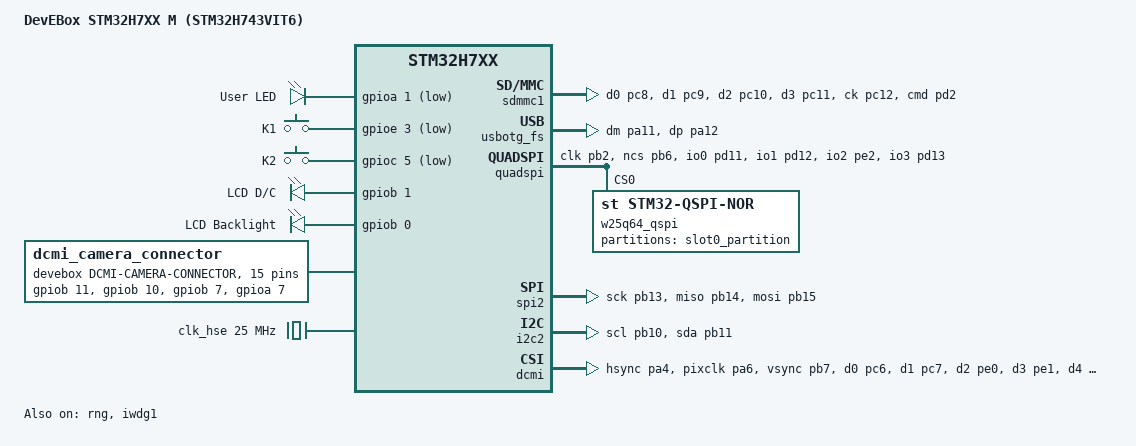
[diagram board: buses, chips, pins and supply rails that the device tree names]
/*
 * Copyright (c) 2026 Vishva
 *
 * SPDX-License-Identifier: Apache-2.0
 */

/dts-v1/;
#include <st/h7/stm32h743Xi.dtsi>
#include <st/h7/stm32h743vitx-pinctrl.dtsi>
#include <zephyr/dt-bindings/input/input-event-codes.h>

/ {
	model = "DevEBox STM32H7XX M (STM32H743VIT6)";
	compatible = "devebox,stm32h7xx-m";

	chosen {
		zephyr,sram = &sram0;
		zephyr,flash = &flash0;
	};

	leds {
		compatible = "gpio-leds";

		user_led: led {
			/* D2, sink-driven: GPIO low = LED on */
			gpios = <&gpioa 1 GPIO_ACTIVE_LOW>;
			label = "User LED";
		};
	};

	gpio_keys {
		compatible = "gpio-keys";

		user_button_k1: button_0 {
			label = "K1";
			gpios = <&gpioe 3 (GPIO_ACTIVE_LOW | GPIO_PULL_UP)>;
			zephyr,code = <INPUT_KEY_0>;
		};

		user_button_k2: button_1 {
			label = "K2";
			gpios = <&gpioc 5 (GPIO_ACTIVE_LOW | GPIO_PULL_UP)>;
			zephyr,code = <INPUT_KEY_1>;
		};
	};

	/*
	 * TFT/LCD header (J4, 8-pin) is a bare SPI2 breakout with no
	 * fixed panel soldered on -- the board supports various plug-in
	 * OLED/TFT modules (0.96"-2.8"). No panel devicetree node is
	 * defined here since the model is unknown; add your own
	 * mipi-dbi/panel node under &spi2 once you know which module is
	 * attached. D/C and backlight are exposed as plain GPIOs below.
	 */
	lcd_ctrl {
		compatible = "gpio-leds"; /* reused as simple GPIO outputs */

		lcd_dc: dc {
			gpios = <&gpiob 1 GPIO_ACTIVE_HIGH>;
			label = "LCD D/C";
		};

		lcd_blk: blk {
			gpios = <&gpiob 0 GPIO_ACTIVE_HIGH>;
			label = "LCD Backlight";
		};
	};

	aliases {
		led0 = &user_led;
		sw0 = &user_button_k1;
		sw1 = &user_button_k2;
		watchdog0 = &iwdg1;
		sdhc0 = &sdmmc1;
	};

	dcmi_camera_connector: connector_dcmi_camera {
		compatible = "devebox,dcmi-camera-connector";
		#gpio-cells = <2>;
		gpio-map-mask = <0xffffffff 0xffffffc0>;
		gpio-map-pass-thru = <0 0x3f>;

		gpio-map = <3 0 &gpiob 11 0>,  /* DCMI_SDA (I2C2_SDA) */
			   <5 0 &gpiob 10 0>,  /* DCMI_SCL (I2C2_SCL) */
			   <7 0 &gpiob 7 0>,   /* DCMI_VSYNC */
			   <8 0 &gpioa 7 0>,   /* DCMI_PWDN */
			   <9 0 &gpioa 4 0>,   /* DCMI_HREF (HSYNC) */
			   <12 0 &gpioe 6 0>,  /* DCMI_D7 */
			   <13 0 &gpioa 8 0>,  /* DCMI_XCLK (RCC_MCO1) */
			   <14 0 &gpioe 5 0>,  /* DCMI_D6 */
			   <16 0 &gpiod 3 0>,  /* DCMI_D5 */
			   <17 0 &gpioa 6 0>,  /* DCMI_PCLK */
			   <18 0 &gpioe 4 0>,  /* DCMI_D4 */
			   <19 0 &gpioc 6 0>,  /* DCMI_D0 */
			   <20 0 &gpioe 1 0>,  /* DCMI_D3 */
			   <21 0 &gpioc 7 0>,  /* DCMI_D1 */
			   <22 0 &gpioe 0 0>;  /* DCMI_D2 */
			   /* DCMI_RESET (PC4) not part of this connector's
			    * fixed pin count above; wire directly via &gpioc
			    * if your camera module needs a reset line. */
	};
};

&clk_lsi {
	status = "okay";
};

&clk_hsi48 {
	status = "okay";
};

&clk_hse {
	clock-frequency = <DT_FREQ_M(25)>;
	status = "okay";
};

&pll {
	div-m = <5>;
	mul-n = <96>;
	div-p = <2>;
	div-q = <10>;
	div-r = <2>;
	clocks = <&clk_hse>;
	status = "okay";
};

&rcc {
	clocks = <&pll>;
	clock-frequency = <DT_FREQ_M(240)>;
	d1cpre = <1>;
	hpre = <2>;
	d1ppre = <1>;
	d2ppre1 = <1>;
	d2ppre2 = <1>;
	d3ppre = <1>;
};

&pwr {
	power-supply = "ldo";
};

&sdmmc1 {
	pinctrl-0 = <&sdmmc1_d0_pc8 &sdmmc1_d1_pc9
		     &sdmmc1_d2_pc10 &sdmmc1_d3_pc11
		     &sdmmc1_ck_pc12 &sdmmc1_cmd_pd2>;
	pinctrl-names = "default";
	/* Card-detect pin (microSD pin 9) is N.C. on this board --
	 * no cd-gpios available, unlike mini_stm32h743. */
	disk-name = "SD";
	status = "okay";
};

zephyr_udc0: &usbotg_fs {
	pinctrl-0 = <&usb_otg_fs_dm_pa11 &usb_otg_fs_dp_pa12>;
	pinctrl-names = "default";
	status = "okay";
};

#include <../boards/common/usb/cdc_acm_serial.dtsi>

&quadspi {
	pinctrl-names = "default";
	pinctrl-0 = <&quadspi_clk_pb2 &quadspi_bk1_ncs_pb6
		     &quadspi_bk1_io0_pd11 &quadspi_bk1_io1_pd12
		     &quadspi_bk1_io2_pe2 &quadspi_bk1_io3_pd13>;
	flash-id = <1>;
	status = "okay";

	w25q64_qspi: qspi-nor-flash@0 {
		compatible = "st,stm32-qspi-nor";
		reg = <0>;
		size = <DT_SIZE_M(64)>; /* 64 Mbit = 8 MiB, W25Q64JV */
		qspi-max-frequency = <40000000>;
		cs-high-time = <2>; /* >= 50 ns */
		status = "okay";
		spi-bus-width = <4>;
		writeoc = "PP_1_1_4";

		partitions {
			compatible = "fixed-partitions";
			#address-cells = <1>;
			#size-cells = <1>;

			slot0_partition: partition@0 {
				reg = <0x00000000 DT_SIZE_M(8)>;
			};
		};
	};
};

/* LCD header (J4) breakout -- SPI2, CS/D-C/BLK as plain GPIOs.
 * No panel node here; see comment on lcd_ctrl above. */
&spi2 {
	pinctrl-0 = <&spi2_sck_pb13 &spi2_miso_pb14 &spi2_mosi_pb15>;
	cs-gpios = <&gpiob 12 GPIO_ACTIVE_LOW>;
	pinctrl-names = "default";
	status = "okay";
};

&rng {
	status = "okay";
};

&backup_sram {
	status = "okay";
};

&iwdg1 {
	status = "okay";
};

zephyr_camera_i2c: &i2c2 {
	pinctrl-0 = <&i2c2_scl_pb10 &i2c2_sda_pb11>;
	pinctrl-names = "default";
	scl-gpios = <&gpiob 10 GPIO_ACTIVE_HIGH>;
	sda-gpios = <&gpiob 11 GPIO_ACTIVE_HIGH>;
};

zephyr_camera_dvp: &dcmi {
	pinctrl-0 = <&dcmi_hsync_pa4 &dcmi_pixclk_pa6 &dcmi_vsync_pb7
		     &dcmi_d0_pc6 &dcmi_d1_pc7 &dcmi_d2_pe0 &dcmi_d3_pe1
		     &dcmi_d4_pe4 &dcmi_d5_pd3 &dcmi_d6_pe5 &dcmi_d7_pe6>;
	pinctrl-names = "default";
};
